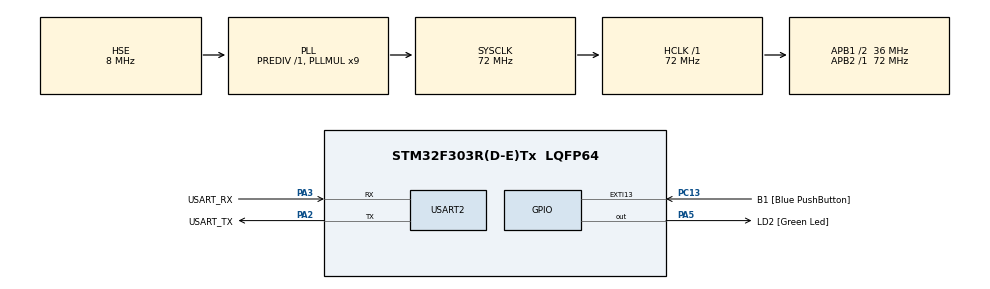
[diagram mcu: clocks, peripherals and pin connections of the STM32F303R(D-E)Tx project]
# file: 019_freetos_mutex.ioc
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Mcu.Family=STM32F3
RCC.PLLSourceVirtual=RCC_PLLSOURCE_HSE
PC15-OSC32_OUT.Mode=LSE-External-Oscillator
PA2.GPIO_PuPd=GPIO_NOPULL
RCC.CortexFreq_Value=72000000
FREERTOS.Tasks01=defaultTask,0,128,StartDefaultTask,Default,NULL,Dynamic,NULL,NULL;myTask02,2,128,StartTask02,Default,NULL,Dynamic,NULL,NULL
PC13.Signal=GPXTI13
PA14.GPIO_Label=TCK
RCC.SYSCLKSourceVirtual=RCC_SYSCLKSOURCE_PLLCLK
PA3.GPIO_PuPd=GPIO_NOPULL
PA2.GPIO_Speed=GPIO_SPEED_FREQ_LOW
PC13.GPIO_Label=B1 [Blue PushButton]
RCC.APB1CLKDivider=RCC_HCLK_DIV2
PC14-OSC32_IN.Signal=RCC_OSC32_IN
PA3.GPIO_Speed=GPIO_SPEED_FREQ_LOW
ProjectManager.StackSize=0x400
PA13.Signal=SYS_JTMS-SWDIO
PA3.Mode=Asynchronous
ProjectManager.TargetToolchain=STM32CubeIDE
PA3.GPIO_Mode=GPIO_MODE_AF_PP
RCC.HCLKFreq_Value=72000000
RCC.APB2TimFreq_Value=72000000
RCC.USBFreq_Value=72000000
PC15-OSC32_OUT.Signal=RCC_OSC32_OUT
RCC.AHBFreq_Value=72000000
PF0-OSC_IN.Mode=HSE-External-Oscillator
PA5.Signal=GPIO_Output
RCC.HSE_VALUE=8000000
board=NUCLEO-F303RE
USART2.VirtualMode-Asynchronous=VM_ASYNC
RCC.RCC_PLLsource_Clock_Source_FROM_HSE=RCC_HSE_PREDIV_DIV2
RCC.PLLMUL=RCC_PLL_MUL9
RCC.APB2Freq_Value=72000000
PC14-OSC32_IN.Mode=LSE-External-Oscillator
VP_SYS_VS_tim1.Mode=TIM1
PA5.GPIO_PuPd=GPIO_NOPULL
VP_FREERTOS_VS_CMSIS_V1.Mode=CMSIS_V1
Mcu.Name=STM32F303R(D-E)Tx
PA2.Signal=USART2_TX
PA13.GPIO_Label=TMS
PB3.Signal=SYS_JTDO-TRACESWO
RCC.SYSCLKFreq_VALUE=72000000
Mcu.Package=LQFP64
NVIC.TimeBase=TIM1_UP_TIM16_IRQn
PA5.GPIO_Label=LD2 [Green Led]
PC13.GPIO_ModeDefaultEXTI=GPIO_MODE_IT_FALLING
PA2.GPIO_Label=USART_TX
NVIC.TimeBaseIP=TIM1
PA14.Signal=SYS_JTCK-SWCLK
ProjectManager.HeapSize=0x200
RCC.HSI_VALUE=8000000
FREERTOS.Mutexes01=myMutex01,Dynamic,NULL
NVIC.TIM1_UP_TIM16_IRQn=true\:0\:0\:false\:false\:true\:false\:false\:true
RCC.PLLP=RCC_PLLP_DIV4
PA5.GPIO_Speed=GPIO_SPEED_FREQ_LOW
RCC.PLLQ=7
NVIC.PriorityGroup=NVIC_PRIORITYGROUP_4
RCC.PLLM=8
RCC.PLLN=336
RCC.APB1TimFreq_Value=72000000
PA2.Mode=Asynchronous
PF0-OSC_IN.Signal=RCC_OSC_IN
PF1-OSC_OUT.Mode=HSE-External-Oscillator
RCC.APB1Freq_Value=36000000
PA5.GPIO_Mode=GPIO_MODE_OUTPUT_PP
PF1-OSC_OUT.Signal=RCC_OSC_OUT
PA3.GPIO_Label=USART_RX
PA3.Signal=USART2_RX
PA2.GPIO_Mode=GPIO_MODE_AF_PP
PB3.GPIO_Label=SWO

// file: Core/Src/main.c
/*
 * bir fonkisyonu öncelik değeri değişik fonksiyonlar kullanıyor
 * ve değişen bir değer varsa önce ilk çağırlan görevin işini halleder
 * daha sonra diğer görevin datasını alıp o işi halleder.
 */

/* USER CODE BEGIN Header */
/**
  ******************************************************************************
  * @file           : main.c
  * @brief          : Main program body
  ******************************************************************************
  * @attention
  *
  * <h2><center>&copy; Copyright (c) 2021 STMicroelectronics.
  * All rights reserved.</center></h2>
  *
  * This software component is licensed by ST under BSD 3-Clause license,
  * the "License"; You may not use this file except in compliance with the
  * License. You may obtain a copy of the License at:
  *                        opensource.org/licenses/BSD-3-Clause
  *
  ******************************************************************************
  */
/* USER CODE END Header */
#include "main.h"
#include "cmsis_os.h"

UART_HandleTypeDef huart2;

osThreadId defaultTaskHandle;
osThreadId myTask02Handle;
osMutexId myMutex01Handle;

void SystemClock_Config(void);
static void MX_GPIO_Init(void);
static void MX_USART2_UART_Init(void);
void StartDefaultTask(void const * argument);
void StartTask02(void const * argument);

/* USER CODE BEGIN PFP */
void Send_Uart (uint8_t *str);
/* USER CODE END PFP */

/* USER CODE BEGIN 0 */
void Send_Uart (uint8_t *str)
{
	xSemaphoreTake(myMutex01Handle, portMAX_DELAY);
	HAL_Delay(2000);
	HAL_UART_Transmit(&huart2, str, strlen (str), HAL_MAX_DELAY);
	xSemaphoreGive(myMutex01Handle);
}
/* USER CODE END 0 */

int main(void)
{

  /* MCU Configuration--------------------------------------------------------*/

  /* Reset of all peripherals, Initializes the Flash interface and the Systick. */
  HAL_Init();

  /* Configure the system clock */
  SystemClock_Config();

  /* Initialize all configured peripherals */
  MX_GPIO_Init();
  MX_USART2_UART_Init();

  /* Create the mutex(es) */
  /* definition and creation of myMutex01 */
  osMutexDef(myMutex01);
  myMutex01Handle = osMutexCreate(osMutex(myMutex01));

  /* Create the thread(s) */
  /* definition and creation of defaultTask */
  osThreadDef(defaultTask, StartDefaultTask, osPriorityNormal, 0, 128);
  defaultTaskHandle = osThreadCreate(osThread(defaultTask), NULL);

  /* definition and creation of myTask02 */
  osThreadDef(myTask02, StartTask02, osPriorityHigh, 0, 128);
  myTask02Handle = osThreadCreate(osThread(myTask02), NULL);

  /* Start scheduler */
  osKernelStart();

  /* We should never get here as control is now taken by the scheduler */
  /* Infinite loop */
  while (1)
  {

  }
}

void SystemClock_Config(void)
{
  RCC_OscInitTypeDef RCC_OscInitStruct = {0};
  RCC_ClkInitTypeDef RCC_ClkInitStruct = {0};
  RCC_PeriphCLKInitTypeDef PeriphClkInit = {0};

  /** Initializes the RCC Oscillators according to the specified parameters
  * in the RCC_OscInitTypeDef structure.
  */
  RCC_OscInitStruct.OscillatorType = RCC_OSCILLATORTYPE_HSE;
  RCC_OscInitStruct.HSEState = RCC_HSE_ON;
  RCC_OscInitStruct.HSIState = RCC_HSI_ON;
  RCC_OscInitStruct.PLL.PLLState = RCC_PLL_ON;
  RCC_OscInitStruct.PLL.PLLSource = RCC_PLLSOURCE_HSE;
  RCC_OscInitStruct.PLL.PLLMUL = RCC_PLL_MUL9;
  RCC_OscInitStruct.PLL.PREDIV = RCC_PREDIV_DIV1;
  if (HAL_RCC_OscConfig(&RCC_OscInitStruct) != HAL_OK)
  {
    Error_Handler();
  }
  /** Initializes the CPU, AHB and APB buses clocks
  */
  RCC_ClkInitStruct.ClockType = RCC_CLOCKTYPE_HCLK|RCC_CLOCKTYPE_SYSCLK
                              |RCC_CLOCKTYPE_PCLK1|RCC_CLOCKTYPE_PCLK2;
  RCC_ClkInitStruct.SYSCLKSource = RCC_SYSCLKSOURCE_PLLCLK;
  RCC_ClkInitStruct.AHBCLKDivider = RCC_SYSCLK_DIV1;
  RCC_ClkInitStruct.APB1CLKDivider = RCC_HCLK_DIV2;
  RCC_ClkInitStruct.APB2CLKDivider = RCC_HCLK_DIV1;

  if (HAL_RCC_ClockConfig(&RCC_ClkInitStruct, FLASH_LATENCY_2) != HAL_OK)
  {
    Error_Handler();
  }
  PeriphClkInit.PeriphClockSelection = RCC_PERIPHCLK_USART2;
  PeriphClkInit.Usart2ClockSelection = RCC_USART2CLKSOURCE_PCLK1;
  if (HAL_RCCEx_PeriphCLKConfig(&PeriphClkInit) != HAL_OK)
  {
    Error_Handler();
  }
}

static void MX_USART2_UART_Init(void)
{

  huart2.Instance = USART2;
  huart2.Init.BaudRate = 38400;
  huart2.Init.WordLength = UART_WORDLENGTH_8B;
  huart2.Init.StopBits = UART_STOPBITS_1;
  huart2.Init.Parity = UART_PARITY_NONE;
  huart2.Init.Mode = UART_MODE_TX_RX;
  huart2.Init.HwFlowCtl = UART_HWCONTROL_NONE;
  huart2.Init.OverSampling = UART_OVERSAMPLING_16;
  huart2.Init.OneBitSampling = UART_ONE_BIT_SAMPLE_DISABLE;
  huart2.AdvancedInit.AdvFeatureInit = UART_ADVFEATURE_NO_INIT;
  if (HAL_UART_Init(&huart2) != HAL_OK)
  {
    Error_Handler();
  }

}

static void MX_GPIO_Init(void)
{
  GPIO_InitTypeDef GPIO_InitStruct = {0};

  /* GPIO Ports Clock Enable */
  __HAL_RCC_GPIOC_CLK_ENABLE();
  __HAL_RCC_GPIOF_CLK_ENABLE();
  __HAL_RCC_GPIOA_CLK_ENABLE();
  __HAL_RCC_GPIOB_CLK_ENABLE();

  /*Configure GPIO pin Output Level */
  HAL_GPIO_WritePin(LD2_GPIO_Port, LD2_Pin, GPIO_PIN_RESET);

  /*Configure GPIO pin : B1_Pin */
  GPIO_InitStruct.Pin = B1_Pin;
  GPIO_InitStruct.Mode = GPIO_MODE_IT_FALLING;
  GPIO_InitStruct.Pull = GPIO_NOPULL;
  HAL_GPIO_Init(B1_GPIO_Port, &GPIO_InitStruct);

  /*Configure GPIO pin : LD2_Pin */
  GPIO_InitStruct.Pin = LD2_Pin;
  GPIO_InitStruct.Mode = GPIO_MODE_OUTPUT_PP;
  GPIO_InitStruct.Pull = GPIO_NOPULL;
  GPIO_InitStruct.Speed = GPIO_SPEED_FREQ_LOW;
  HAL_GPIO_Init(LD2_GPIO_Port, &GPIO_InitStruct);

}

void StartDefaultTask(void const * argument)
{
  /* USER CODE BEGIN 5 */
	uint8_t *strtosend = "IN MPT...........................\n";
  /* Infinite loop */
  for(;;)
  {
		char *str = "Entered MPT and About to take MUTEX\n";
		HAL_UART_Transmit(&huart2, str, strlen (str), HAL_MAX_DELAY);

		Send_Uart(strtosend);

		char *str2 = "Leaving MPT\n\n";
		HAL_UART_Transmit(&huart2, str2, strlen (str2), HAL_MAX_DELAY);

		vTaskDelay(1000);
  }
  /* USER CODE END 5 */
}

void StartTask02(void const * argument)
{
  /* USER CODE BEGIN StartTask02 */
	uint8_t *strtosend = "IN HPT===========================\n";
  /* Infinite loop */
  for(;;)
  {
	  char *str = "Entered HPT and About to take MUTEX\n";
	  		HAL_UART_Transmit(&huart2, str, strlen (str), HAL_MAX_DELAY);

	  		Send_Uart(strtosend);

	  		char *str2 = "Leaving HPT\n\n";
	  		HAL_UART_Transmit(&huart2, str2, strlen (str2), HAL_MAX_DELAY);

	  		vTaskDelay(2000);
  }
  /* USER CODE END StartTask02 */
}

 /**
  * @brief  Period elapsed callback in non blocking mode
  * @note   This function is called  when TIM1 interrupt took place, inside
  * HAL_TIM_IRQHandler(). It makes a direct call to HAL_IncTick() to increment
  * a global variable "uwTick" used as application time base.
  * @param  htim : TIM handle
  * @retval None
  */
void HAL_TIM_PeriodElapsedCallback(TIM_HandleTypeDef *htim)
{
  if (htim->Instance == TIM1) {
    HAL_IncTick();
  }
}

void Error_Handler(void)
{
  __disable_irq();
  while (1)
  {
  }
}

/************************ (C) COPYRIGHT STMicroelectronics *****END OF FILE****/
